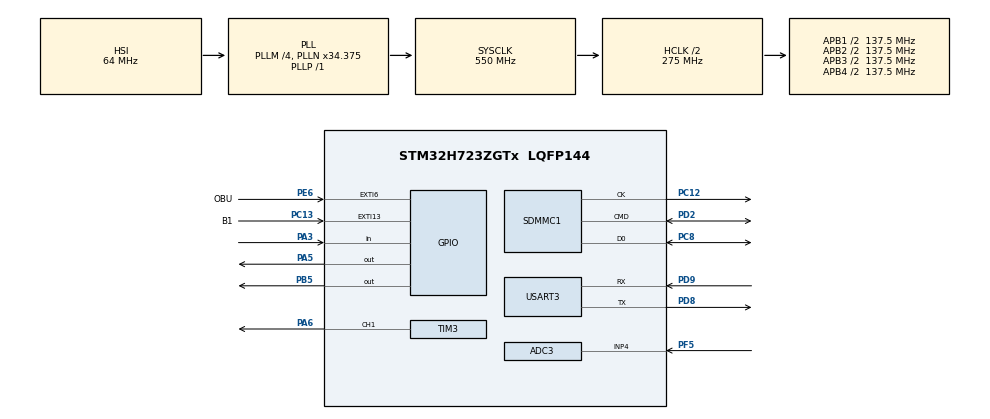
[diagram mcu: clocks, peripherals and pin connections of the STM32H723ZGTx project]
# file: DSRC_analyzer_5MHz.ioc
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ADC3.Channel-0\#ChannelRegularConversion=ADC_CHANNEL_4
ADC3.ConversionDataManagement=ADC_CONVERSIONDATA_DMA_CIRCULAR
ADC3.DMAContinuousRequests=ENABLE
ADC3.ExternalTrigConv=ADC_EXTERNALTRIG_T3_TRGO
ADC3.ExternalTrigConvEdge=ADC_EXTERNALTRIGCONVEDGE_RISINGFALLING
ADC3.NbrOfConversionFlag=1
ADC3.OffsetNumber-0\#ChannelRegularConversion=ADC_OFFSET_NONE
ADC3.OffsetSign-0\#ChannelRegularConversion=ADC3_OFFSET_SIGN_NEGATIVE
ADC3.Rank-0\#ChannelRegularConversion=1
ADC3.ResolutionADC3=ADC_RESOLUTION_8B
ADC3.SamplingTime-0\#ChannelRegularConversion=ADC3_SAMPLETIME_2CYCLES_5
Dma.ADC3.0.Direction=DMA_PERIPH_TO_MEMORY
Dma.ADC3.0.EventEnable=DISABLE
Dma.ADC3.0.FIFOMode=DMA_FIFOMODE_DISABLE
Dma.ADC3.0.Instance=DMA1_Stream0
Dma.ADC3.0.MemDataAlignment=DMA_MDATAALIGN_BYTE
Dma.ADC3.0.MemInc=DMA_MINC_ENABLE
Dma.ADC3.0.Mode=DMA_CIRCULAR
Dma.ADC3.0.PeriphDataAlignment=DMA_PDATAALIGN_BYTE
Dma.ADC3.0.PeriphInc=DMA_PINC_DISABLE
Dma.ADC3.0.Polarity=HAL_DMAMUX_REQ_GEN_RISING
Dma.ADC3.0.Priority=DMA_PRIORITY_VERY_HIGH
Dma.ADC3.0.RequestNumber=1
Dma.ADC3.0.SignalID=NONE
Dma.ADC3.0.SyncEnable=DISABLE
Dma.ADC3.0.SyncPolarity=HAL_DMAMUX_SYNC_NO_EVENT
Dma.ADC3.0.SyncRequestNumber=1
Dma.ADC3.0.SyncSignalID=NONE
Dma.Request0=ADC3
FATFS.BSP.number=1
FATFS0.BSP.STBoard=false
FATFS0.BSP.api=Unknown
FATFS0.BSP.instance=PA3
FATFS0.BSP.ip=GPIO
FATFS0.BSP.mode=Input
FATFS0.BSP.name=Detect_SDIO
FATFS0.BSP.solution=PA3
Mcu.Family=STM32H7
Mcu.Name=STM32H723ZGTx
Mcu.Package=LQFP144
NVIC.DMA1_Stream0_IRQn=true\:0\:0\:false\:false\:true\:false\:true\:true
NVIC.EXTI15_10_IRQn=true\:0\:0\:false\:false\:true\:true\:true\:true
NVIC.EXTI9_5_IRQn=true\:0\:0\:false\:false\:true\:true\:true\:true
NVIC.PriorityGroup=NVIC_PRIORITYGROUP_4
PA3.Signal=GPIO_Input
PA5.GPIO_Speed=GPIO_SPEED_FREQ_MEDIUM
PA5.PinState=GPIO_PIN_RESET
PA5.Signal=GPIO_Output
PA6.Signal=S_TIM3_CH1
PB5.GPIO_Speed=GPIO_SPEED_FREQ_MEDIUM
PB5.Signal=GPIO_Output
PC12.Mode=SD_1_bit
PC12.Signal=SDMMC1_CK
PC13.GPIO_Label=B1
PC13.Signal=GPXTI13
PC8.Mode=SD_1_bit
PC8.Signal=SDMMC1_D0
PD2.Mode=SD_1_bit
PD2.Signal=SDMMC1_CMD
PD8.Mode=Asynchronous
PD8.Signal=USART3_TX
PD9.Mode=Asynchronous
PD9.Signal=USART3_RX
PE6.GPIO_Label=OBU
PE6.Signal=GPXTI6
PF5.Mode=IN4-Single-Ended
PF5.Signal=ADC3_INP4
ProjectManager.HeapSize=0x200
ProjectManager.StackSize=0x400
ProjectManager.TargetToolchain=STM32CubeIDE
RCC.ADCCLockSelection=RCC_ADCCLKSOURCE_PLL3
RCC.ADCFreq_Value=72000000
RCC.APB1Freq_Value=137500000
RCC.APB2Freq_Value=137500000
RCC.APB3Freq_Value=137500000
RCC.APB4Freq_Value=137500000
RCC.CortexFreq_Value=550000000
RCC.D1PPRE=RCC_APB3_DIV2
RCC.D2PPRE1=RCC_APB1_DIV2
RCC.D2PPRE2=RCC_APB2_DIV2
RCC.D3PPRE=RCC_APB4_DIV2
RCC.DIVM1=4
RCC.DIVM2=4
RCC.DIVM3=4
RCC.DIVN1=34
RCC.DIVN2=12
RCC.DIVN3=18
RCC.DIVP1=1
RCC.DIVQ1=5
RCC.DIVR2=1
RCC.DIVR3=4
RCC.HCLKFreq_Value=275000000
RCC.HPRE=RCC_HCLK_DIV2
RCC.PLL2FRACN=0
RCC.PLL3FRACN=0
RCC.PLLFRACN=3072
RCC.SDMMC1CLockSelection=RCC_SDMMCCLKSOURCE_PLL2
RCC.SYSCLKFreq_VALUE=550000000
RCC.SYSCLKSource=RCC_SYSCLKSOURCE_PLLCLK
RCC.USBFreq_Value=110000000
SDMMC1.ClockDiv=4
SH.S_TIM3_CH1.0=TIM3_CH1,Output Compare1 CH1
TIM3.Channel-Output\ Compare1\ CH1=TIM_CHANNEL_1
TIM3.OCMode_1=TIM_OCMODE_TOGGLE
TIM3.Period=54
TIM3.TIM_MasterOutputTrigger=TIM_TRGO_UPDATE
USART3.VirtualMode-Asynchronous=VM_ASYNC
VP_FATFS_VS_SDIO.Mode=SDIO
VP_TIM3_VS_ClockSourceINT.Mode=Internal
board=custom

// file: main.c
/* USER CODE BEGIN Header */
/**
  ******************************************************************************
  * @file           : main.c
  * @brief          : Main program body
  ******************************************************************************
  * @attention
  *
  * Copyright (c) 2023 STMicroelectronics.
  * All rights reserved.
  *
  * This software is licensed under terms that can be found in the LICENSE file
  * in the root directory of this software component.
  * If no LICENSE file comes with this software, it is provided AS-IS.
  *
  ******************************************************************************
  */
/* USER CODE END Header */
#include "main.h"
#include "fatfs.h"

/* USER CODE BEGIN Includes */
#include <string.h>
#include <stdbool.h>
#include <stdio.h>
/* USER CODE END Includes */

/* USER CODE BEGIN PD */
#define DMABUFLEN 50000
#define HALFBUFLEN 25000
#define DATABUFLEN 250000
/* USER CODE END PD */

ADC_HandleTypeDef hadc3;
DMA_HandleTypeDef hdma_adc3;

SD_HandleTypeDef hsd1;

TIM_HandleTypeDef htim3;

UART_HandleTypeDef huart3;

/* USER CODE BEGIN PV */
uint8_t dmaBuffer[DMABUFLEN];
uint8_t dataBuffer[DATABUFLEN];
uint8_t *srcBufPtr;
bool OBU_interrupted;
static volatile bool doHalfConv;
static volatile bool doFullConv;
static volatile uint8_t last_isrID;
static uint8_t idx; //0 - 9
static volatile bool OBUInterrupt;
static volatile bool buttonPressed;
/* USER CODE END PV */

void SystemClock_Config(void);
static void MX_GPIO_Init(void);
static void MX_DMA_Init(void);
static void MX_ADC3_Init(void);
static void MX_TIM3_Init(void);
static void MX_SDMMC1_SD_Init(void);
static void MX_USART3_UART_Init(void);
/* USER CODE BEGIN PFP */
void PrintUART(const char *str);
int init_SD_Card(void);
/* USER CODE END PFP */

/* USER CODE BEGIN 0 */
const char filename[] = "data_txt.txt";
/* USER CODE END 0 */

int main(void)
{
  /* USER CODE BEGIN 1 */
	FRESULT res;
	uint32_t byteswritten;
	char wtext[100] = "STM32 FATFS TEST 1";
	int err;
	OBUInterrupt = false;
	buttonPressed = false;
	for(int i = 0; i < DMABUFLEN; i++){
		dmaBuffer[i]=0;
	}
	doHalfConv = false;
	doFullConv = false;
	idx = 9;
	last_isrID = 0;
	__NOP();
  /* USER CODE END 1 */

  /* MCU Configuration--------------------------------------------------------*/

  /* Reset of all peripherals, Initializes the Flash interface and the Systick. */
  HAL_Init();

  /* Configure the system clock */
  SystemClock_Config();

  /* Initialize all configured peripherals */
  MX_GPIO_Init();
  MX_DMA_Init();
  MX_ADC3_Init();
  MX_TIM3_Init();
  MX_SDMMC1_SD_Init();
  MX_USART3_UART_Init();
  MX_FATFS_Init();
  /* USER CODE BEGIN 2 */

  HAL_TIM_Base_Start(&htim3);
  HAL_TIM_OC_Start(&htim3, TIM_CHANNEL_1); //Debug line
  PrintUART("\r\n");
  PrintUART("------------------------\r\n");
  PrintUART("-DSRC Analyzer started!-\r\n");
  PrintUART("------------------------\r\n");
  PrintUART("\r\n");
  err = init_SD_Card();
  if(err){
	  PrintUART("[SD] SD Card missing\r\n\r\n");
	  PrintUART("     [INSERT SD CARD]\r\n\r\n");
  	  while(init_SD_Card()){
  		  HAL_Delay(10);
  	  }
  }
  PrintUART("[SD] Card Detected!\r\n");
  PrintUART("     [PRESS BUTTON 1 TO CONTINUE]\r\n");

  while(!buttonPressed);
  buttonPressed = false;

  PrintUART("[FATFS] Trying to mount SD ...\r\n");
  if(f_mount(&SDFatFS, (TCHAR const*)SDPath, 1) != FR_OK){
	  PrintUART("[FATFS] Mount Failed\r\n");
  }else{
	  PrintUART("[FATFS] Mount Success\r\n");
  }
  if(f_open(&SDFile, filename, FA_CREATE_ALWAYS | FA_WRITE) != FR_OK){
	  PrintUART("[FATFS] File open/make Failed\r\n");
  }else{
	  PrintUART("[FATFS] File open/make Success\r\n");
	  res = f_write(&SDFile, wtext, strlen((char *)wtext), (void *)&byteswritten);
	  if((byteswritten == 0) || (res != FR_OK))
	  {
		  PrintUART("[FATFS] Write Failed\r\n");
	  }else{
		  PrintUART("[FATFS] Write Success\r\n");
		  f_close(&SDFile);
	  }
  }

  PrintUART("     [PRESS BUTTON 1 TO START ADC]\r\n");
  while(!buttonPressed);
  buttonPressed = false;
  PrintUART("     [PRESS BUTTON 1 OR WAIT FOR OBU TO STOP ADC ]\r\n");
  HAL_ADC_Start_DMA(&hadc3, (uint32_t *)dmaBuffer, DMABUFLEN);
  /* USER CODE END 2 */

  /* Infinite loop */
  /* USER CODE BEGIN WHILE */
  while (1)
  {
	  if(doHalfConv){
		  idx++;
		  HAL_GPIO_WritePin(GPIOA, GPIO_PIN_5, GPIO_PIN_SET);
		  memcpy(&dataBuffer[idx * HALFBUFLEN], &dmaBuffer[0], HALFBUFLEN);
		  HAL_GPIO_WritePin(GPIOA, GPIO_PIN_5, GPIO_PIN_RESET);
		  __disable_irq();
		  doHalfConv = false;
		  __enable_irq();
	  }else if(doFullConv){
		  idx++;
		  if(idx > 9){
			  idx = 0;
		  }
		  HAL_GPIO_WritePin(GPIOA, GPIO_PIN_5, GPIO_PIN_SET);
		  memcpy(&dataBuffer[idx * HALFBUFLEN], &dmaBuffer[HALFBUFLEN], HALFBUFLEN);
		  HAL_GPIO_WritePin(GPIOA, GPIO_PIN_5, GPIO_PIN_RESET);
		  __disable_irq();
		  doFullConv = false;
		  __enable_irq();
	  }else if(OBUInterrupt || buttonPressed){
		  HAL_ADC_Stop_DMA(&hadc3);
		  OBUInterrupt = false;
		  buttonPressed = false;
		  PrintUART("[INTERRUPT] Button pressed or OBU GPIO trigger!\r\n");
		  HAL_Delay(100);
		  if(f_mount(&SDFatFS, (TCHAR const*)SDPath, 1) != FR_OK){
		    	  PrintUART("[FATFS] Mount Failed\r\n");
		      }else{
		    	  PrintUART("[FATFS] Mount Success\r\n");
		      }
		    if(f_open(&SDFile, filename, FA_CREATE_ALWAYS | FA_WRITE) != FR_OK){
		    	  PrintUART("[FATFS] File open/make Failed\r\n");
		      }else{
		    	  PrintUART("[FATFS] File open/make Success\r\n");
		    	  unsigned long t1 = DWT->CYCCNT;
		    	  res = f_write(&SDFile, dataBuffer, sizeof(dataBuffer), (void *)&byteswritten);
		    	  unsigned long t2 = DWT->CYCCNT;
		    	  if((byteswritten == 0) || (res != FR_OK))
		    	  {
		    		  PrintUART("[FATFS] Write Failed\r\n");
		    	  }else{
		    		  PrintUART("[FATFS] Write Success\r\n");
		    		  f_close(&SDFile);
		    	  }
		    	  //f_close(&SDFile);
		    	/* do something */
		    	  unsigned long diff = t2 - t1;
		    	  PrintUART("[FATFS] File written success\r\n");
		    	  sprintf(wtext, "Cycles: %lu \r\n", diff);
		    	  PrintUART(wtext);
		    	  sprintf(wtext, "Bytes: %lu \r\n", byteswritten);
		    	  PrintUART(wtext);
		      }
	  }
    /* USER CODE END WHILE */

  }
}

void SystemClock_Config(void)
{
  RCC_OscInitTypeDef RCC_OscInitStruct = {0};
  RCC_ClkInitTypeDef RCC_ClkInitStruct = {0};

  /** Supply configuration update enable
  */
  HAL_PWREx_ConfigSupply(PWR_LDO_SUPPLY);

  /** Configure the main internal regulator output voltage
  */
  __HAL_PWR_VOLTAGESCALING_CONFIG(PWR_REGULATOR_VOLTAGE_SCALE0);

  while(!__HAL_PWR_GET_FLAG(PWR_FLAG_VOSRDY)) {}

  /** Initializes the RCC Oscillators according to the specified parameters
  * in the RCC_OscInitTypeDef structure.
  */
  RCC_OscInitStruct.OscillatorType = RCC_OSCILLATORTYPE_HSI;
  RCC_OscInitStruct.HSIState = RCC_HSI_DIV1;
  RCC_OscInitStruct.HSICalibrationValue = 64;
  RCC_OscInitStruct.PLL.PLLState = RCC_PLL_ON;
  RCC_OscInitStruct.PLL.PLLSource = RCC_PLLSOURCE_HSI;
  RCC_OscInitStruct.PLL.PLLM = 4;
  RCC_OscInitStruct.PLL.PLLN = 34;
  RCC_OscInitStruct.PLL.PLLP = 1;
  RCC_OscInitStruct.PLL.PLLQ = 5;
  RCC_OscInitStruct.PLL.PLLR = 2;
  RCC_OscInitStruct.PLL.PLLRGE = RCC_PLL1VCIRANGE_3;
  RCC_OscInitStruct.PLL.PLLVCOSEL = RCC_PLL1VCOWIDE;
  RCC_OscInitStruct.PLL.PLLFRACN = 3072;
  if (HAL_RCC_OscConfig(&RCC_OscInitStruct) != HAL_OK)
  {
    Error_Handler();
  }

  /** Initializes the CPU, AHB and APB buses clocks
  */
  RCC_ClkInitStruct.ClockType = RCC_CLOCKTYPE_HCLK|RCC_CLOCKTYPE_SYSCLK
                              |RCC_CLOCKTYPE_PCLK1|RCC_CLOCKTYPE_PCLK2
                              |RCC_CLOCKTYPE_D3PCLK1|RCC_CLOCKTYPE_D1PCLK1;
  RCC_ClkInitStruct.SYSCLKSource = RCC_SYSCLKSOURCE_PLLCLK;
  RCC_ClkInitStruct.SYSCLKDivider = RCC_SYSCLK_DIV1;
  RCC_ClkInitStruct.AHBCLKDivider = RCC_HCLK_DIV2;
  RCC_ClkInitStruct.APB3CLKDivider = RCC_APB3_DIV2;
  RCC_ClkInitStruct.APB1CLKDivider = RCC_APB1_DIV2;
  RCC_ClkInitStruct.APB2CLKDivider = RCC_APB2_DIV2;
  RCC_ClkInitStruct.APB4CLKDivider = RCC_APB4_DIV2;

  if (HAL_RCC_ClockConfig(&RCC_ClkInitStruct, FLASH_LATENCY_3) != HAL_OK)
  {
    Error_Handler();
  }
}

static void MX_ADC3_Init(void)
{

  ADC_ChannelConfTypeDef sConfig = {0};

  /** Common config
  */
  hadc3.Instance = ADC3;
  hadc3.Init.ClockPrescaler = ADC_CLOCK_ASYNC_DIV1;
  hadc3.Init.Resolution = ADC_RESOLUTION_8B;
  hadc3.Init.DataAlign = ADC3_DATAALIGN_RIGHT;
  hadc3.Init.ScanConvMode = ADC_SCAN_DISABLE;
  hadc3.Init.EOCSelection = ADC_EOC_SINGLE_CONV;
  hadc3.Init.LowPowerAutoWait = DISABLE;
  hadc3.Init.ContinuousConvMode = DISABLE;
  hadc3.Init.NbrOfConversion = 1;
  hadc3.Init.DiscontinuousConvMode = DISABLE;
  hadc3.Init.ExternalTrigConv = ADC_EXTERNALTRIG_T3_TRGO;
  hadc3.Init.ExternalTrigConvEdge = ADC_EXTERNALTRIGCONVEDGE_RISINGFALLING;
  hadc3.Init.DMAContinuousRequests = ENABLE;
  hadc3.Init.SamplingMode = ADC_SAMPLING_MODE_NORMAL;
  hadc3.Init.ConversionDataManagement = ADC_CONVERSIONDATA_DMA_CIRCULAR;
  hadc3.Init.Overrun = ADC_OVR_DATA_PRESERVED;
  hadc3.Init.LeftBitShift = ADC_LEFTBITSHIFT_NONE;
  hadc3.Init.OversamplingMode = DISABLE;
  if (HAL_ADC_Init(&hadc3) != HAL_OK)
  {
    Error_Handler();
  }

  /** Configure Regular Channel
  */
  sConfig.Channel = ADC_CHANNEL_4;
  sConfig.Rank = ADC_REGULAR_RANK_1;
  sConfig.SamplingTime = ADC3_SAMPLETIME_2CYCLES_5;
  sConfig.SingleDiff = ADC_SINGLE_ENDED;
  sConfig.OffsetNumber = ADC_OFFSET_NONE;
  sConfig.Offset = 0;
  sConfig.OffsetSignedSaturation = DISABLE;
  sConfig.OffsetSign = ADC3_OFFSET_SIGN_NEGATIVE;
  if (HAL_ADC_ConfigChannel(&hadc3, &sConfig) != HAL_OK)
  {
    Error_Handler();
  }

}

static void MX_SDMMC1_SD_Init(void)
{

  hsd1.Instance = SDMMC1;
  hsd1.Init.ClockEdge = SDMMC_CLOCK_EDGE_RISING;
  hsd1.Init.ClockPowerSave = SDMMC_CLOCK_POWER_SAVE_DISABLE;
  hsd1.Init.BusWide = SDMMC_BUS_WIDE_1B;
  hsd1.Init.HardwareFlowControl = SDMMC_HARDWARE_FLOW_CONTROL_DISABLE;
  hsd1.Init.ClockDiv = 4;

}

static void MX_TIM3_Init(void)
{

  TIM_ClockConfigTypeDef sClockSourceConfig = {0};
  TIM_MasterConfigTypeDef sMasterConfig = {0};
  TIM_OC_InitTypeDef sConfigOC = {0};

  htim3.Instance = TIM3;
  htim3.Init.Prescaler = 0;
  htim3.Init.CounterMode = TIM_COUNTERMODE_UP;
  htim3.Init.Period = 54;
  htim3.Init.ClockDivision = TIM_CLOCKDIVISION_DIV1;
  htim3.Init.AutoReloadPreload = TIM_AUTORELOAD_PRELOAD_DISABLE;
  if (HAL_TIM_Base_Init(&htim3) != HAL_OK)
  {
    Error_Handler();
  }
  sClockSourceConfig.ClockSource = TIM_CLOCKSOURCE_INTERNAL;
  if (HAL_TIM_ConfigClockSource(&htim3, &sClockSourceConfig) != HAL_OK)
  {
    Error_Handler();
  }
  if (HAL_TIM_OC_Init(&htim3) != HAL_OK)
  {
    Error_Handler();
  }
  sMasterConfig.MasterOutputTrigger = TIM_TRGO_UPDATE;
  sMasterConfig.MasterSlaveMode = TIM_MASTERSLAVEMODE_DISABLE;
  if (HAL_TIMEx_MasterConfigSynchronization(&htim3, &sMasterConfig) != HAL_OK)
  {
    Error_Handler();
  }
  sConfigOC.OCMode = TIM_OCMODE_TOGGLE;
  sConfigOC.Pulse = 0;
  sConfigOC.OCPolarity = TIM_OCPOLARITY_HIGH;
  sConfigOC.OCFastMode = TIM_OCFAST_DISABLE;
  if (HAL_TIM_OC_ConfigChannel(&htim3, &sConfigOC, TIM_CHANNEL_1) != HAL_OK)
  {
    Error_Handler();
  }
  HAL_TIM_MspPostInit(&htim3);

}

static void MX_USART3_UART_Init(void)
{

  huart3.Instance = USART3;
  huart3.Init.BaudRate = 115200;
  huart3.Init.WordLength = UART_WORDLENGTH_8B;
  huart3.Init.StopBits = UART_STOPBITS_1;
  huart3.Init.Parity = UART_PARITY_NONE;
  huart3.Init.Mode = UART_MODE_TX_RX;
  huart3.Init.HwFlowCtl = UART_HWCONTROL_NONE;
  huart3.Init.OverSampling = UART_OVERSAMPLING_16;
  huart3.Init.OneBitSampling = UART_ONE_BIT_SAMPLE_DISABLE;
  huart3.Init.ClockPrescaler = UART_PRESCALER_DIV1;
  huart3.AdvancedInit.AdvFeatureInit = UART_ADVFEATURE_NO_INIT;
  if (HAL_UART_Init(&huart3) != HAL_OK)
  {
    Error_Handler();
  }
  if (HAL_UARTEx_SetTxFifoThreshold(&huart3, UART_TXFIFO_THRESHOLD_1_8) != HAL_OK)
  {
    Error_Handler();
  }
  if (HAL_UARTEx_SetRxFifoThreshold(&huart3, UART_RXFIFO_THRESHOLD_1_8) != HAL_OK)
  {
    Error_Handler();
  }
  if (HAL_UARTEx_DisableFifoMode(&huart3) != HAL_OK)
  {
    Error_Handler();
  }

}

static void MX_DMA_Init(void)
{

  /* DMA controller clock enable */
  __HAL_RCC_DMA1_CLK_ENABLE();

  /* DMA interrupt init */
  /* DMA1_Stream0_IRQn interrupt configuration */
  HAL_NVIC_SetPriority(DMA1_Stream0_IRQn, 0, 0);
  HAL_NVIC_EnableIRQ(DMA1_Stream0_IRQn);

}

static void MX_GPIO_Init(void)
{
  GPIO_InitTypeDef GPIO_InitStruct = {0};

  /* GPIO Ports Clock Enable */
  __HAL_RCC_GPIOE_CLK_ENABLE();
  __HAL_RCC_GPIOC_CLK_ENABLE();
  __HAL_RCC_GPIOF_CLK_ENABLE();
  __HAL_RCC_GPIOA_CLK_ENABLE();
  __HAL_RCC_GPIOD_CLK_ENABLE();
  __HAL_RCC_GPIOB_CLK_ENABLE();

  /*Configure GPIO pin Output Level */
  HAL_GPIO_WritePin(GPIOA, GPIO_PIN_5, GPIO_PIN_RESET);

  /*Configure GPIO pin Output Level */
  HAL_GPIO_WritePin(GPIOB, GPIO_PIN_5, GPIO_PIN_RESET);

  /*Configure GPIO pin : OBU_Pin */
  GPIO_InitStruct.Pin = OBU_Pin;
  GPIO_InitStruct.Mode = GPIO_MODE_IT_RISING;
  GPIO_InitStruct.Pull = GPIO_NOPULL;
  HAL_GPIO_Init(OBU_GPIO_Port, &GPIO_InitStruct);

  /*Configure GPIO pin : B1_Pin */
  GPIO_InitStruct.Pin = B1_Pin;
  GPIO_InitStruct.Mode = GPIO_MODE_IT_RISING;
  GPIO_InitStruct.Pull = GPIO_NOPULL;
  HAL_GPIO_Init(B1_GPIO_Port, &GPIO_InitStruct);

  /*Configure GPIO pin : PA3 */
  GPIO_InitStruct.Pin = GPIO_PIN_3;
  GPIO_InitStruct.Mode = GPIO_MODE_INPUT;
  GPIO_InitStruct.Pull = GPIO_NOPULL;
  HAL_GPIO_Init(GPIOA, &GPIO_InitStruct);

  /*Configure GPIO pin : PA5 */
  GPIO_InitStruct.Pin = GPIO_PIN_5;
  GPIO_InitStruct.Mode = GPIO_MODE_OUTPUT_PP;
  GPIO_InitStruct.Pull = GPIO_NOPULL;
  GPIO_InitStruct.Speed = GPIO_SPEED_FREQ_MEDIUM;
  HAL_GPIO_Init(GPIOA, &GPIO_InitStruct);

  /*Configure GPIO pin : PB5 */
  GPIO_InitStruct.Pin = GPIO_PIN_5;
  GPIO_InitStruct.Mode = GPIO_MODE_OUTPUT_PP;
  GPIO_InitStruct.Pull = GPIO_NOPULL;
  GPIO_InitStruct.Speed = GPIO_SPEED_FREQ_MEDIUM;
  HAL_GPIO_Init(GPIOB, &GPIO_InitStruct);

  /* EXTI interrupt init*/
  HAL_NVIC_SetPriority(EXTI9_5_IRQn, 0, 0);
  HAL_NVIC_EnableIRQ(EXTI9_5_IRQn);

  HAL_NVIC_SetPriority(EXTI15_10_IRQn, 0, 0);
  HAL_NVIC_EnableIRQ(EXTI15_10_IRQn);

}

/* USER CODE BEGIN 4 */
void HAL_ADC_ConvCpltCallback(ADC_HandleTypeDef* hadc)
{
	if(last_isrID == 1){
		return;
	}
	last_isrID = 1;
	HAL_GPIO_WritePin(GPIOB, GPIO_PIN_5, GPIO_PIN_SET);
	doHalfConv = true;
}
void HAL_ADC_ConvHalfCpltCallback(ADC_HandleTypeDef* hadc)
{
	if(last_isrID == 2){
		return;
	}
	last_isrID = 2;
	HAL_GPIO_WritePin(GPIOB, GPIO_PIN_5, GPIO_PIN_RESET);
	doFullConv = true;
}

void PrintUART(const char *str){ //For debug purpouse
	HAL_UART_Transmit(&huart3, (uint8_t *)str, strlen(str), 1000);
}

void HAL_GPIO_EXTI_Callback(uint16_t GPIO_Pin)
{
  /* Prevent unused argument(s) compilation warning */
  UNUSED(GPIO_Pin);

  /* NOTE: This function Should not be modified, when the callback is needed,
           the HAL_GPIO_EXTI_Callback could be implemented in the user file
   */
  if(GPIO_Pin == B1_Pin)
  {
	  buttonPressed = true;
  } else if(GPIO_Pin == OBU_Pin){
	  OBUInterrupt = true;
  }
}

int init_SD_Card(void)
{
	HAL_SD_DeInit(&hsd1); //In case of re-initialization

	if (HAL_SD_Init(&hsd1) != HAL_OK)
	{
		return 1;
	}
	return 0;
}
/* USER CODE END 4 */

void Error_Handler(void)
{
  __disable_irq();
  while (1)
  {
  }
}
